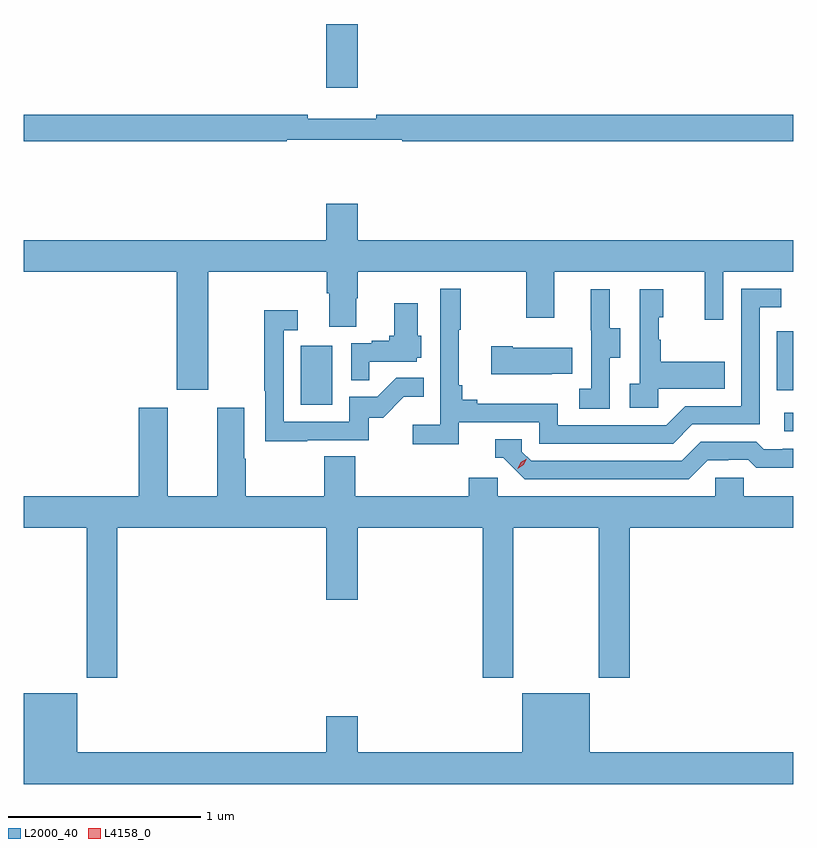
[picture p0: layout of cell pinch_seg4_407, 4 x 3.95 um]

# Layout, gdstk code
import gdstk
lib = gdstk.Library(unit=1e-6, precision=1e-09)
def R(c, l, rs):  # rectangles x0, y0, x1, y1
    for r in rs: c.add(gdstk.rectangle(r[:2], r[2:], *l))
def P(c, l, *ps):  # polygons
    for p in ps: c.add(gdstk.Polygon(p, *l))
L2000_40 = (2000, 40)
L4158_0 = (4158, 0)

pinch_seg4_407 = lib.new_cell('pinch_seg4_407')
R(pinch_seg4_407, L2000_40, [(970.587,776.01,970.632,776.106), (968.072,776.148,968.236,776.455), (970.548,776.223,970.632,776.532), (968.204,777.798,968.368,778.129)])
P(pinch_seg4_407, L2000_40, [(968,777.528),(968.6,777.528),(968.6,777.52),(970.632,777.52),(970.632,777.656),(968.464,777.656),(968.464,777.637),(968.108,777.637),(968.108,777.656),(966.632,777.656),(966.632,777.52),(968,777.52)],
  [(968.204,777.004),(966.632,777.004),(966.632,776.84),(967.427,776.84),(967.427,776.226),(967.591,776.226),(967.591,776.84),(968.207,776.84),(968.207,776.728),(968.219,776.728),(968.219,776.554),(968.359,776.554),(968.359,776.703),(968.367,776.703),(968.367,776.84),(969.244,776.84),(969.244,776.601),(969.391,776.601),(969.391,776.84),(970.172,776.84),(970.172,776.592),(970.269,776.592),(970.269,776.84),(970.632,776.84),(970.632,777.004),(968.368,777.004),(968.368,777.193),(968.204,777.193)],
  [(968.894,776.058),(969.312,776.058),(969.312,775.947),(970.009,775.947),(970.108,776.046),(970.458,776.046),(970.458,776.655),(970.571,776.655),(970.571,776.751),(970.362,776.751),(970.362,776.142),(970.071,776.142),(969.972,776.043),(969.408,776.043),(969.408,776.155),(968.989,776.155),(968.989,776.174),(968.912,776.174),(968.912,776.251),(968.893,776.251),(968.893,776.539),(968.905,776.539),(968.905,776.752),(968.796,776.752),(968.796,776.044),(968.655,776.044),(968.655,775.942),(968.894,775.942)],
  [(969.678,776.392),(969.733,776.392),(969.733,776.547),(969.679,776.547),(969.679,776.749),(969.581,776.749),(969.581,776.535),(969.582,776.535),(969.582,776.231),(969.519,776.231),(969.519,776.128),(969.678,776.128)],
  [(969.93,776.231),(970.277,776.231),(970.277,776.371),(969.943,776.371),(969.943,776.486),(969.933,776.486),(969.933,776.604),(969.958,776.604),(969.958,776.749),(969.834,776.749),(969.834,776.258),(969.783,776.258),(969.783,776.133),(969.93,776.133)],
  [(968.429,776.373),(968.676,776.373),(968.676,776.394),(968.698,776.394),(968.698,776.508),(968.68,776.508),(968.68,776.677),(968.558,776.677),(968.558,776.508),(968.533,776.508),(968.533,776.482),(968.441,776.482),(968.441,776.469),(968.334,776.469),(968.334,776.275),(968.429,776.275)],
  [(968.105,775.965),(968.424,775.965),(968.424,776.082),(968.5,776.082),(968.607,776.189),(968.711,776.189),(968.711,776.288),(968.567,776.288),(968.469,776.19),(968.325,776.19),(968.325,776.061),(967.983,776.061),(967.983,776.535),(968.056,776.535),(968.056,776.641),(967.882,776.641),(967.882,776.221),(967.887,776.221),(967.887,775.96),(968.105,775.96)],
  [(969.377,776.309),(969.485,776.309),(969.485,776.446),(969.175,776.446),(969.175,776.454),(969.063,776.454),(969.063,776.306),(969.377,776.306)],
  [(968.204,775.134),(968.368,775.134),(968.368,775.508),(969.017,775.508),(969.017,774.729),(969.177,774.729),(969.177,775.508),(969.622,775.508),(969.622,774.729),(969.782,774.729),(969.782,775.508),(970.632,775.508),(970.632,775.672),(970.377,775.672),(970.377,775.77),(970.227,775.77),(970.227,775.672),(969.096,775.672),(969.096,775.77),(968.945,775.77),(968.945,775.672),(968.354,775.672),(968.354,775.88),(968.194,775.88),(968.194,775.672),(967.785,775.672),(967.785,775.868),(967.777,775.868),(967.777,776.134),(967.637,776.134),(967.637,775.672),(967.381,775.672),(967.381,776.134),(967.229,776.134),(967.229,775.672),(966.632,775.672),(966.632,775.508),(966.958,775.508),(966.958,774.729),(967.118,774.729),(967.118,775.508),(968.204,775.508)],
  [(970.189,775.86),(970.296,775.86),(970.296,775.863),(970.399,775.863),(970.441,775.821),(970.632,775.821),(970.632,775.92),(970.579,775.92),(970.579,775.917),(970.48,775.917),(970.441,775.956),(970.152,775.956),(970.053,775.857),(969.27,775.857),(969.222,775.905),(969.222,775.968),(969.083,775.968),(969.083,775.872),(969.126,775.872),(969.237,775.761),(970.09,775.761)],
  [(968.204,774.529),(968.204,774.34),(966.91,774.34),(966.91,774.649),(966.632,774.649),(966.632,774.176),(970.632,774.176),(970.632,774.34),(969.574,774.34),(969.574,774.649),(969.224,774.649),(969.224,774.34),(968.368,774.34),(968.368,774.529)])
P(pinch_seg4_407, L4158_0, [(969.201,775.817),(969.201,775.817),(969.217,775.85),(969.248,775.869),(969.248,775.869),(969.248,775.869),(969.232,775.836),(969.201,775.817)])

lib.write_gds('pinch_seg4_407.gds')
